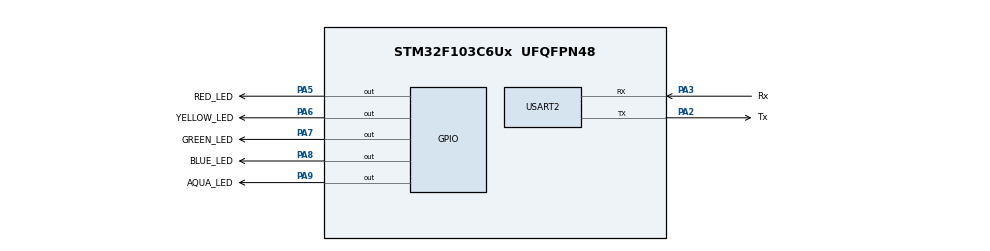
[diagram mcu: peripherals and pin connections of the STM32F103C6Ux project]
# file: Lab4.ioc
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Mcu.Family=STM32F1
Mcu.Name=STM32F103C6Ux
Mcu.Package=UFQFPN48
NVIC.PriorityGroup=NVIC_PRIORITYGROUP_4
NVIC.TIM2_IRQn=true\:0\:0\:false\:false\:true\:true\:true\:true
PA2.GPIO_Label=Tx
PA2.Mode=Asynchronous
PA2.Signal=USART2_TX
PA3.GPIO_Label=Rx
PA3.Mode=Asynchronous
PA3.Signal=USART2_RX
PA5.GPIO_Label=RED_LED
PA5.Signal=GPIO_Output
PA6.GPIO_Label=YELLOW_LED
PA6.Signal=GPIO_Output
PA7.GPIO_Label=GREEN_LED
PA7.Signal=GPIO_Output
PA8.GPIO_Label=BLUE_LED
PA8.Signal=GPIO_Output
PA9.GPIO_Label=AQUA_LED
PA9.Signal=GPIO_Output
ProjectManager.HeapSize=0x200
ProjectManager.StackSize=0x400
ProjectManager.TargetToolchain=STM32CubeIDE
RCC.APB1Freq_Value=8000000
RCC.APB2Freq_Value=8000000
TIM2.Period=9
TIM2.Prescaler=7999
USART2.VirtualMode=VM_ASYNC
VP_SYS_VS_ND.Mode=No_Debug
VP_TIM2_VS_ClockSourceINT.Mode=Internal
board=custom

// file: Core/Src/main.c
/* USER CODE BEGIN Header */
/**
  ******************************************************************************
  * @file           : main.c
  * @brief          : Main program body
  ******************************************************************************
  * @attention
  *
  * <h2><center>&copy; Copyright (c) 2025 STMicroelectronics.
  * All rights reserved.</center></h2>
  *
  * This software component is licensed by ST under BSD 3-Clause license,
  * the "License"; You may not use this file except in compliance with the
  * License. You may obtain a copy of the License at:
  *                        opensource.org/licenses/BSD-3-Clause
  *
  ******************************************************************************
  */
/* USER CODE END Header */
#include "main.h"
#include "scheduler.h"
#include "timer.h"

TIM_HandleTypeDef htim2;

UART_HandleTypeDef huart2;

void SystemClock_Config(void);
static void MX_GPIO_Init(void);
static void MX_TIM2_Init(void);
static void MX_USART2_UART_Init(void);

/* USER CODE BEGIN 0 */
static void my_checkpoint(void)
{
    char msg[80];

    int len = snprintf(msg, sizeof(msg),
        "\r\n[%lu ms] CHECKPOINT - Scheduler OK\r\n",
        (unsigned long)get_time());

    if (len > 0 && len < sizeof(msg))
    {
        HAL_UART_Transmit(&huart2,
            (uint8_t*)msg, (uint16_t)len, 100);
    }
}
/* USER CODE END 0 */

int main(void)
{

  /* MCU Configuration--------------------------------------------------------*/

  /* Reset of all peripherals, Initializes the Flash interface and the Systick. */
  HAL_Init();

  /* Configure the system clock */
  SystemClock_Config();

  /* Initialize all configured peripherals */
  MX_GPIO_Init();
  MX_TIM2_Init();
  MX_USART2_UART_Init();
  /* USER CODE BEGIN 2 */
  SCH_Init();

  SCH_Add_Task(red,0,500);
  SCH_Add_Task(yellow,100,1000);
  SCH_Add_Task(green,200,1500);
  SCH_Add_Task(blue,300,2000);
  SCH_Add_Task(aqua,400,2500);

  SCH_Add_Task(my_checkpoint, 3000, 0);
  SCH_Add_Task(print_time_10ms, 0, 10);
  HAL_TIM_Base_Start_IT(&htim2);
  /* USER CODE END 2 */

  /* Infinite loop */
  while (1)
  {
	  SCH_Dispatch_Tasks();
  }
}

void SystemClock_Config(void)
{
  RCC_OscInitTypeDef RCC_OscInitStruct = {0};
  RCC_ClkInitTypeDef RCC_ClkInitStruct = {0};

  /** Initializes the RCC Oscillators according to the specified parameters
  * in the RCC_OscInitTypeDef structure.
  */
  RCC_OscInitStruct.OscillatorType = RCC_OSCILLATORTYPE_HSI;
  RCC_OscInitStruct.HSIState = RCC_HSI_ON;
  RCC_OscInitStruct.HSICalibrationValue = RCC_HSICALIBRATION_DEFAULT;
  RCC_OscInitStruct.PLL.PLLState = RCC_PLL_NONE;
  if (HAL_RCC_OscConfig(&RCC_OscInitStruct) != HAL_OK)
  {
    Error_Handler();
  }
  /** Initializes the CPU, AHB and APB buses clocks
  */
  RCC_ClkInitStruct.ClockType = RCC_CLOCKTYPE_HCLK|RCC_CLOCKTYPE_SYSCLK
                              |RCC_CLOCKTYPE_PCLK1|RCC_CLOCKTYPE_PCLK2;
  RCC_ClkInitStruct.SYSCLKSource = RCC_SYSCLKSOURCE_HSI;
  RCC_ClkInitStruct.AHBCLKDivider = RCC_SYSCLK_DIV1;
  RCC_ClkInitStruct.APB1CLKDivider = RCC_HCLK_DIV1;
  RCC_ClkInitStruct.APB2CLKDivider = RCC_HCLK_DIV1;

  if (HAL_RCC_ClockConfig(&RCC_ClkInitStruct, FLASH_LATENCY_0) != HAL_OK)
  {
    Error_Handler();
  }
}

static void MX_TIM2_Init(void)
{

  TIM_ClockConfigTypeDef sClockSourceConfig = {0};
  TIM_MasterConfigTypeDef sMasterConfig = {0};

  htim2.Instance = TIM2;
  htim2.Init.Prescaler = 7999;
  htim2.Init.CounterMode = TIM_COUNTERMODE_UP;
  htim2.Init.Period = 9;
  htim2.Init.ClockDivision = TIM_CLOCKDIVISION_DIV1;
  htim2.Init.AutoReloadPreload = TIM_AUTORELOAD_PRELOAD_DISABLE;
  if (HAL_TIM_Base_Init(&htim2) != HAL_OK)
  {
    Error_Handler();
  }
  sClockSourceConfig.ClockSource = TIM_CLOCKSOURCE_INTERNAL;
  if (HAL_TIM_ConfigClockSource(&htim2, &sClockSourceConfig) != HAL_OK)
  {
    Error_Handler();
  }
  sMasterConfig.MasterOutputTrigger = TIM_TRGO_RESET;
  sMasterConfig.MasterSlaveMode = TIM_MASTERSLAVEMODE_DISABLE;
  if (HAL_TIMEx_MasterConfigSynchronization(&htim2, &sMasterConfig) != HAL_OK)
  {
    Error_Handler();
  }

}

static void MX_USART2_UART_Init(void)
{

  huart2.Instance = USART2;
  huart2.Init.BaudRate = 115200;
  huart2.Init.WordLength = UART_WORDLENGTH_8B;
  huart2.Init.StopBits = UART_STOPBITS_1;
  huart2.Init.Parity = UART_PARITY_NONE;
  huart2.Init.Mode = UART_MODE_TX_RX;
  huart2.Init.HwFlowCtl = UART_HWCONTROL_NONE;
  huart2.Init.OverSampling = UART_OVERSAMPLING_16;
  if (HAL_UART_Init(&huart2) != HAL_OK)
  {
    Error_Handler();
  }

}

static void MX_GPIO_Init(void)
{
  GPIO_InitTypeDef GPIO_InitStruct = {0};

  /* GPIO Ports Clock Enable */
  __HAL_RCC_GPIOA_CLK_ENABLE();

  /*Configure GPIO pin Output Level */
  HAL_GPIO_WritePin(GPIOA, RED_LED_Pin|YELLOW_LED_Pin|GREEN_LED_Pin|BLUE_LED_Pin
                          |AQUA_LED_Pin, GPIO_PIN_RESET);

  /*Configure GPIO pins : RED_LED_Pin YELLOW_LED_Pin GREEN_LED_Pin BLUE_LED_Pin
                           AQUA_LED_Pin */
  GPIO_InitStruct.Pin = RED_LED_Pin|YELLOW_LED_Pin|GREEN_LED_Pin|BLUE_LED_Pin
                          |AQUA_LED_Pin;
  GPIO_InitStruct.Mode = GPIO_MODE_OUTPUT_PP;
  GPIO_InitStruct.Pull = GPIO_NOPULL;
  GPIO_InitStruct.Speed = GPIO_SPEED_FREQ_LOW;
  HAL_GPIO_Init(GPIOA, &GPIO_InitStruct);

}

void Error_Handler(void)
{
  __disable_irq();
  while (1)
  {
  }
}

/************************ (C) COPYRIGHT STMicroelectronics *****END OF FILE****/
